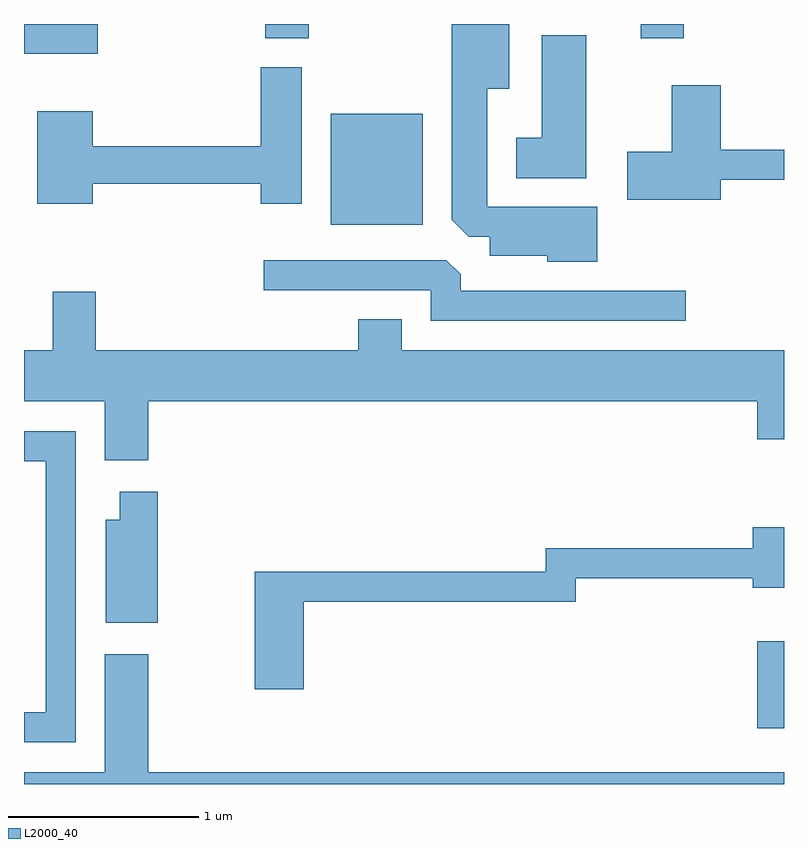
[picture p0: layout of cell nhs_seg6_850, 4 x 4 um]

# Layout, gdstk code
import gdstk
lib = gdstk.Library(unit=1e-6, precision=1e-09)
def R(c, l, rs):  # rectangles x0, y0, x1, y1
    for r in rs: c.add(gdstk.rectangle(r[:2], r[2:], *l))
def P(c, l, *ps):  # polygons
    for p in ps: c.add(gdstk.Polygon(p, *l))
L2000_40 = (2000, 40)

nhs_seg6_850 = lib.new_cell('nhs_seg6_850')
R(nhs_seg6_850, L2000_40, [(213.471,1630.456,213.611,1630.914), (211.226,1633.106,211.709,1633.689), (209.611,1634.006,209.998,1634.162), (210.881,1634.086,211.109,1634.162), (212.856,1634.086,213.084,1634.162)])
P(nhs_seg6_850, L2000_40, [(212.629,1633.199),(212.049,1633.199),(212.049,1633.821),(212.164,1633.821),(212.164,1634.162),(211.861,1634.162),(211.861,1633.132),(211.952,1633.041),(212.061,1633.041),(212.061,1632.941),(212.366,1632.941),(212.366,1632.911),(212.629,1632.911)],
  [(212.569,1634.104),(212.336,1634.104),(212.336,1633.564),(212.201,1633.564),(212.201,1633.351),(212.569,1633.351)],
  [(209.974,1633.321),(210.856,1633.321),(210.856,1633.216),(211.074,1633.216),(211.074,1633.934),(210.856,1633.934),(210.856,1633.519),(209.974,1633.519),(209.974,1633.704),(209.681,1633.704),(209.681,1633.216),(209.974,1633.216)],
  [(213.279,1633.341),(213.611,1633.341),(213.611,1633.499),(213.279,1633.499),(213.279,1633.839),(213.021,1633.839),(213.021,1633.489),(212.786,1633.489),(212.786,1633.236),(213.279,1633.236)],
  [(213.093,1632.759),(211.909,1632.759),(211.909,1632.844),(211.834,1632.919),(210.873,1632.919),(210.873,1632.761),(211.751,1632.761),(211.751,1632.601),(213.093,1632.601)],
  [(210.264,1632.176),(213.471,1632.176),(213.471,1631.976),(213.611,1631.976),(213.611,1632.444),(211.599,1632.444),(211.599,1632.609),(211.371,1632.609),(211.371,1632.444),(209.989,1632.444),(209.989,1632.754),(209.761,1632.754),(209.761,1632.444),(209.611,1632.444),(209.611,1632.176),(210.036,1632.176),(210.036,1631.866),(210.264,1631.866)],
  [(209.884,1632.019),(209.611,1632.019),(209.611,1631.861),(209.726,1631.861),(209.726,1630.539),(209.611,1630.539),(209.611,1630.381),(209.884,1630.381)],
  [(210.314,1631.699),(210.116,1631.699),(210.116,1631.554),(210.041,1631.554),(210.041,1631.011),(210.314,1631.011)],
  [(211.084,1631.121),(212.514,1631.121),(212.514,1631.246),(213.446,1631.246),(213.446,1631.196),(213.611,1631.196),(213.611,1631.514),(213.446,1631.514),(213.446,1631.404),(212.356,1631.404),(212.356,1631.279),(210.826,1631.279),(210.826,1630.661),(211.084,1630.661)],
  [(213.611,1630.224),(210.264,1630.224),(210.264,1630.844),(210.036,1630.844),(210.036,1630.224),(209.611,1630.224),(209.611,1630.162),(213.611,1630.162)])

lib.write_gds('nhs_seg6_850.gds')
